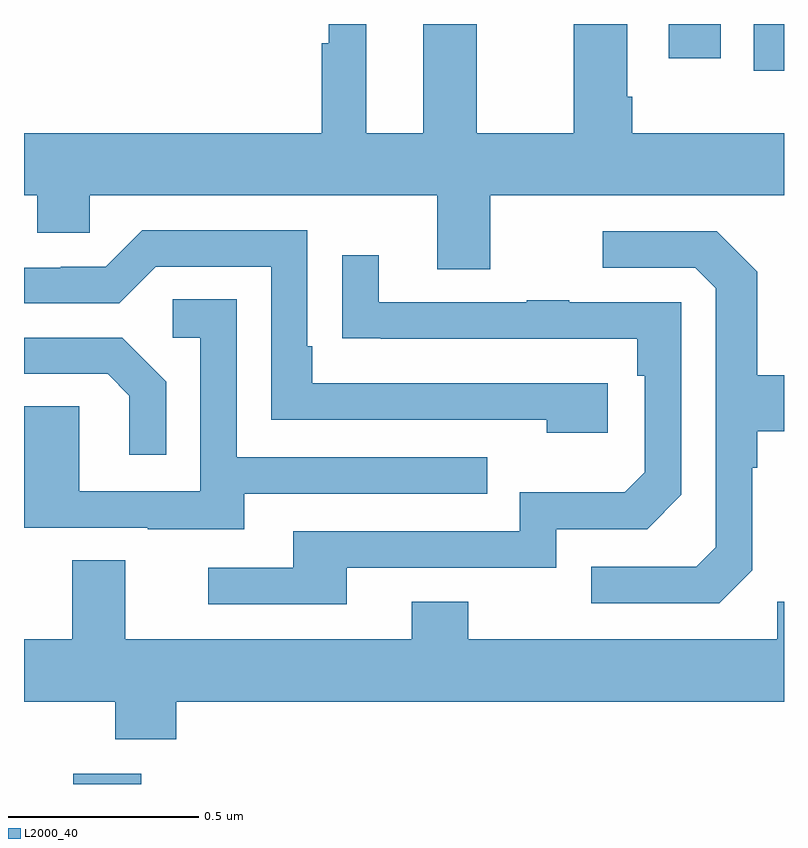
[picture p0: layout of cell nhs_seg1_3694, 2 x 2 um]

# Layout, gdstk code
import gdstk
lib = gdstk.Library(unit=1e-6, precision=1e-09)
def R(c, l, rs):  # rectangles x0, y0, x1, y1
    for r in rs: c.add(gdstk.rectangle(r[:2], r[2:], *l))
def P(c, l, *ps):  # polygons
    for p in ps: c.add(gdstk.Polygon(p, *l))
L2000_40 = (2000, 40)

nhs_seg1_3694 = lib.new_cell('nhs_seg1_3694')
R(nhs_seg1_3694, L2000_40, [(157.13,534.199,157.309,534.226), (158.921,536.076,159,536.199), (158.697,536.109,158.833,536.199)])
P(nhs_seg1_3694, L2000_40, [(158.227,535.748),(159,535.748),(159,535.912),(158.6,535.912),(158.6,536.008),(158.587,536.008),(158.587,536.199),(158.447,536.199),(158.447,535.912),(158.191,535.912),(158.191,536.199),(158.051,536.199),(158.051,535.912),(157.9,535.912),(157.9,536.199),(157.802,536.199),(157.802,536.148),(157.783,536.148),(157.783,535.912),(157,535.912),(157,535.748),(157.035,535.748),(157.035,535.65),(157.173,535.65),(157.173,535.748),(158.087,535.748),(158.087,535.554),(158.227,535.554)],
  [(158.536,535.254),(157.759,535.254),(157.759,535.351),(157.746,535.351),(157.746,535.656),(157.311,535.656),(157.215,535.56),(157.097,535.56),(157.097,535.557),(157,535.557),(157,535.464),(157.251,535.464),(157.347,535.56),(157.65,535.56),(157.65,535.158),(158.375,535.158),(158.375,535.124),(158.536,535.124)],
  [(158.916,534.762),(158.916,535.031),(158.929,535.031),(158.929,535.127),(159,535.127),(159,535.275),(158.929,535.275),(158.929,535.547),(158.823,535.653),(158.523,535.653),(158.523,535.557),(158.766,535.557),(158.82,535.503),(158.82,534.822),(158.769,534.771),(158.493,534.771),(158.493,534.675),(158.829,534.675)],
  [(157.849,534.768),(158.4,534.768),(158.4,534.87),(158.64,534.87),(158.73,534.96),(158.73,535.467),(158.435,535.467),(158.435,535.472),(158.323,535.472),(158.323,535.467),(157.933,535.467),(157.933,535.591),(157.837,535.591),(157.837,535.372),(157.939,535.372),(157.939,535.371),(158.614,535.371),(158.614,535.274),(158.634,535.274),(158.634,535.02),(158.581,534.967),(158.304,534.967),(158.304,534.864),(157.709,534.864),(157.709,534.768),(157.485,534.768),(157.485,534.672),(157.849,534.672)],
  [(157.579,534.963),(158.219,534.963),(158.219,535.059),(157.56,535.059),(157.56,535.475),(157.392,535.475),(157.392,535.374),(157.464,535.374),(157.464,534.969),(157.146,534.969),(157.146,535.193),(157.001,535.193),(157.001,534.873),(157.325,534.873),(157.325,534.869),(157.579,534.869)],
  [(157.374,535.258),(157.258,535.374),(157,535.374),(157,535.278),(157.22,535.278),(157.277,535.221),(157.277,535.065),(157.374,535.065)],
  [(157.4,534.416),(159,534.416),(159,534.679),(158.982,534.679),(158.982,534.58),(158.169,534.58),(158.169,534.679),(158.021,534.679),(158.021,534.58),(157.267,534.58),(157.267,534.788),(157.127,534.788),(157.127,534.58),(157,534.58),(157,534.416),(157.24,534.416),(157.24,534.317),(157.4,534.317)])

lib.write_gds('nhs_seg1_3694.gds')
